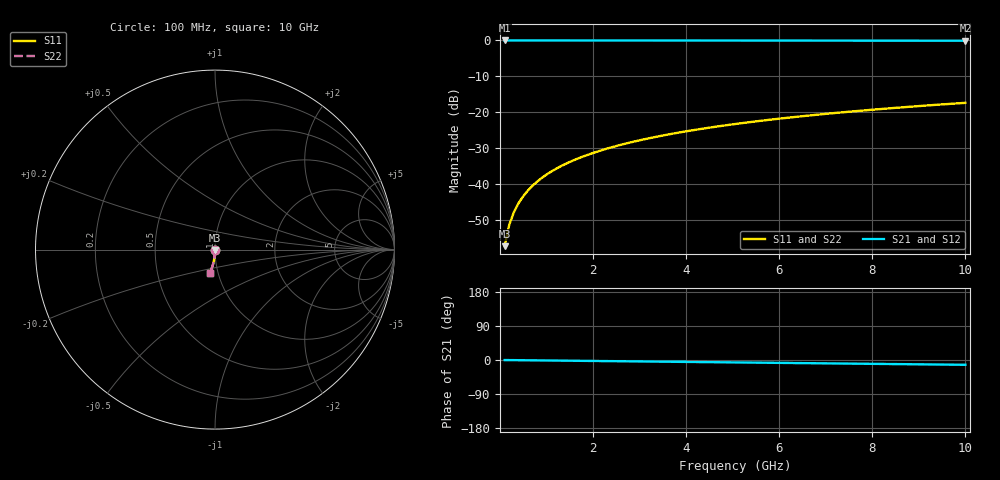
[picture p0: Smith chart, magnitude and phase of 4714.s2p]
# Hz S RI R 50.00
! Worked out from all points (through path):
!   100 points, 100 MHz to 10 GHz, reference 50 ohm
!   highest |S21| = 0.00 dB at 100 MHz (marker M1); lowest = -0.1 dB at 10 GHz (marker M2)
!   group delay of S21, straight-line fit = 3.53 ps
!   lowest |S11| = -57.4 dB at 100 MHz (marker M3), VSWR 1.00, Z = 50 - j0.135 ohm
!   |S11| at or under -10 dB: start of sweep to end of sweep
!   |S22| runs from -57.4 to -17.4 dB; largest |S21 - S12| = 0
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1e8  0.000137 -0.00135  0.9999 -0.00219  0.9999 -0.00219  0.000137 -0.00135
2e8  0.000127 -0.00269  0.9998 -0.00438  0.9998 -0.00438  0.000127 -0.00269
3e8  0.000111 -0.00404  0.9998 -0.00658  0.9998 -0.00658  0.000111 -0.00404
4e8  8.94e-05 -0.00539  0.9998 -0.00877  0.9998 -0.00877  8.94e-05 -0.00539
5e8  6.16e-05 -0.00674  0.9998 -0.011  0.9998 -0.011  6.16e-05 -0.00674
6e8  2.78e-05 -0.00808  0.9997 -0.0132  0.9997 -0.0132  2.78e-05 -0.00808
7e8  -1.19e-05 -0.00943  0.9997 -0.0153  0.9997 -0.0153  -1.19e-05 -0.00943
8e8  -5.76e-05 -0.0108  0.9996 -0.0175  0.9996 -0.0175  -5.76e-05 -0.0108
9e8  -0.000109 -0.0121  0.9996 -0.0197  0.9996 -0.0197  -0.000109 -0.0121
1.1e9  -0.00023 -0.0148  0.9994 -0.0241  0.9994 -0.0241  -0.00023 -0.0148
1.4e9  -0.000457 -0.0189  0.9992 -0.0307  0.9992 -0.0307  -0.000457 -0.0189
1.8e9  -0.000842 -0.0243  0.9987 -0.0395  0.9987 -0.0395  -0.000842 -0.0243
2.1e9  -0.00119 -0.0283  0.9983 -0.0461  0.9983 -0.0461  -0.00119 -0.0283
2.5e9  -0.00175 -0.0337  0.9977 -0.0549  0.9977 -0.0549  -0.00175 -0.0337
2.9e9  -0.00239 -0.0391  0.997 -0.0636  0.997 -0.0636  -0.00239 -0.0391
3.4e9  -0.00334 -0.0458  0.9959 -0.0746  0.9959 -0.0746  -0.00334 -0.0458
4.2e9  -0.00516 -0.0565  0.9939 -0.0922  0.9939 -0.0922  -0.00516 -0.0565
5.1e9  -0.00767 -0.0685  0.9911 -0.1119  0.9911 -0.1119  -0.00767 -0.0685
5.9e9  -0.0103 -0.0791  0.9881 -0.1293  0.9881 -0.1293  -0.0103 -0.0791
6.7e9  -0.0133 -0.0897  0.9847 -0.1467  0.9847 -0.1467  -0.0133 -0.0897
8.4e9  -0.021 -0.1116  0.9761 -0.1834  0.9761 -0.1834  -0.021 -0.1116
1e10  -0.0296 -0.1316  0.9663 -0.2175  0.9663 -0.2175  -0.0296 -0.1316
